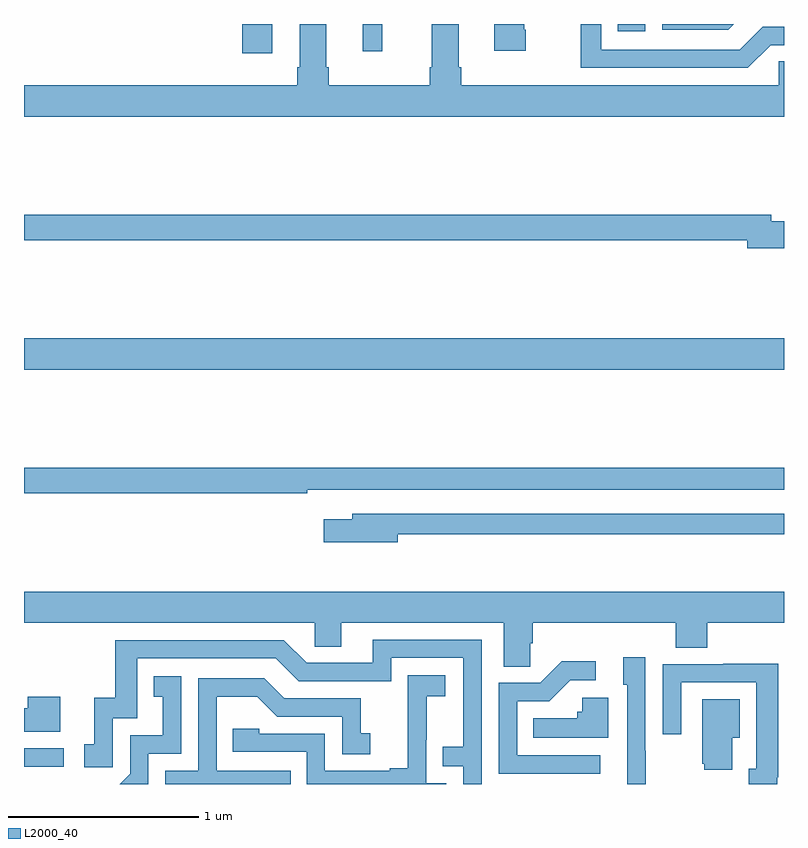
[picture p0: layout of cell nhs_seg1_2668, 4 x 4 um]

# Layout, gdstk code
import gdstk
lib = gdstk.Library(unit=1e-6, precision=1e-09)
def R(c, l, rs):  # rectangles x0, y0, x1, y1
    for r in rs: c.add(gdstk.rectangle(r[:2], r[2:], *l))
def P(c, l, *ps):  # polygons
    for p in ps: c.add(gdstk.Polygon(p, *l))
L2000_40 = (2000, 40)

nhs_seg1_2668 = lib.new_cell('nhs_seg1_2668')
R(nhs_seg1_2668, L2000_40, [(255,568.29,255.208,568.386), (255,570.38,259,570.544), (256.148,572.046,256.306,572.199), (256.784,572.055,256.886,572.199), (258.124,572.16,258.27,572.199)])
P(nhs_seg1_2668, L2000_40, [(259,572.003),(258.972,572.003),(258.972,571.876),(257.3,571.876),(257.3,571.972),(257.287,571.972),(257.287,572.199),(257.147,572.199),(257.147,571.972),(257.135,571.972),(257.135,571.876),(256.604,571.876),(256.604,571.972),(256.591,571.972),(256.591,572.197),(256.451,572.197),(256.451,571.972),(256.439,571.972),(256.439,571.876),(255,571.876),(255,571.712),(259,571.712)],
  [(257.64,572.17),(257.632,572.17),(257.632,572.199),(257.474,572.199),(257.474,572.058),(257.64,572.058)],
  [(258.93,572.088),(259,572.088),(259,572.184),(258.888,572.184),(258.768,572.064),(258.039,572.064),(258.039,572.199),(257.931,572.199),(257.931,571.968),(258.81,571.968)],
  [(258.736,572.199),(258.36,572.199),(258.36,572.169),(258.706,572.169)],
  [(259,571.16),(258.934,571.16),(258.934,571.196),(255,571.196),(255,571.06),(258.806,571.06),(258.806,571.018),(259,571.018)],
  [(256.49,569.748),(259,569.748),(259,569.864),(255,569.864),(255,569.728),(256.49,569.728)],
  [(256.966,569.514),(259,569.514),(259,569.622),(256.727,569.622),(256.727,569.593),(256.578,569.593),(256.578,569.471),(256.966,569.471)],
  [(257.664,568.939),(257.678,568.939),(257.678,569.048),(258.431,569.048),(258.431,568.915),(258.596,568.915),(258.596,569.048),(259,569.048),(259,569.212),(255,569.212),(255,569.048),(256.53,569.048),(256.53,568.921),(256.669,568.921),(256.669,569.048),(257.525,569.048),(257.525,568.816),(257.664,568.816)],
  [(257.409,568.959),(256.835,568.959),(256.835,568.836),(256.488,568.836),(256.368,568.956),(255.481,568.956),(255.481,568.654),(255.371,568.654),(255.371,568.407),(255.318,568.407),(255.318,568.287),(255.468,568.287),(255.468,568.545),(255.597,568.545),(255.597,568.86),(256.326,568.86),(256.446,568.74),(256.932,568.74),(256.932,568.863),(257.313,568.863),(257.313,568.394),(257.203,568.394),(257.203,568.293),(257.313,568.293),(257.313,568.199),(257.409,568.199)],
  [(258.273,568.373),(258.27,568.373),(258.27,568.867),(258.155,568.867),(258.155,568.722),(258.174,568.722),(258.174,568.199),(258.273,568.199)],
  [(258.034,568.35),(257.595,568.35),(257.595,568.635),(257.764,568.635),(257.875,568.746),(258.01,568.746),(258.01,568.844),(257.831,568.844),(257.718,568.731),(257.499,568.731),(257.499,568.254),(258.034,568.254)],
  [(258.964,568.234),(258.971,568.234),(258.971,568.832),(258.679,568.832),(258.679,568.83),(258.363,568.83),(258.363,568.461),(258.459,568.461),(258.459,568.734),(258.855,568.734),(258.855,568.278),(258.815,568.278),(258.815,568.199),(258.964,568.199)],
  [(257.223,568.203),(257.118,568.203),(257.118,568.433),(257.12,568.433),(257.12,568.661),(257.218,568.661),(257.218,568.771),(257.02,568.771),(257.02,568.565),(257.021,568.565),(257.021,568.282),(256.925,568.282),(256.925,568.269),(256.584,568.269),(256.584,568.464),(256.239,568.464),(256.239,568.491),(256.099,568.491),(256.099,568.368),(256.488,568.368),(256.488,568.199),(257.223,568.199)],
  [(255.654,568.359),(255.828,568.359),(255.828,568.765),(255.682,568.765),(255.682,568.659),(255.731,568.659),(255.731,568.455),(255.558,568.455),(255.558,568.254),(255.503,568.199),(255.654,568.199)],
  [(256.403,568.269),(256.014,568.269),(256.014,568.658),(256.228,568.658),(256.332,568.554),(256.674,568.554),(256.674,568.356),(256.822,568.356),(256.822,568.465),(256.773,568.465),(256.773,568.65),(256.369,568.65),(256.264,568.755),(255.918,568.755),(255.918,568.269),(255.744,568.269),(255.744,568.199),(256.403,568.199)],
  [(255.19,568.657),(255.02,568.657),(255.02,568.597),(255,568.597),(255,568.475),(255.19,568.475)],
  [(258.076,568.654),(257.937,568.654),(257.937,568.578),(257.911,568.578),(257.911,568.546),(257.68,568.546),(257.68,568.442),(258.076,568.442)],
  [(258.727,568.442),(258.766,568.442),(258.766,568.645),(258.569,568.645),(258.569,568.305),(258.581,568.305),(258.581,568.274),(258.727,568.274)])

lib.write_gds('nhs_seg1_2668.gds')
